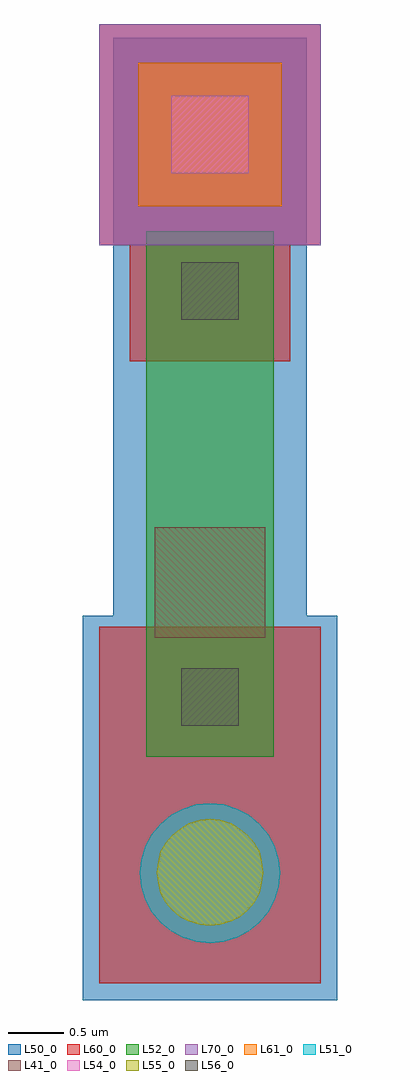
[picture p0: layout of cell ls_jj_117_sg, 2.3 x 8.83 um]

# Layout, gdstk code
import gdstk
lib = gdstk.Library(unit=1e-6, precision=1e-09)
def R(c, l, rs):  # rectangles x0, y0, x1, y1
    for r in rs: c.add(gdstk.rectangle(r[:2], r[2:], *l))
def P(c, l, *ps):  # polygons
    for p in ps: c.add(gdstk.Polygon(p, *l))
L41_0 = (41, 0)
L50_0 = (50, 0)
L51_0 = (51, 0)
L52_0 = (52, 0)
L54_0 = (54, 0)
L55_0 = (55, 0)
L56_0 = (56, 0)
L60_0 = (60, 0)
L61_0 = (61, 0)
L70_0 = (70, 0)

ls_conn_m5m6m7 = lib.new_cell('ls_conn_M5M6M7')
R(ls_conn_m5m6m7, L50_0, [(-0.5,-0.5,1.2,1.2)])
R(ls_conn_m5m6m7, L54_0, [(0,0,0.7,0.7)])
R(ls_conn_m5m6m7, L60_0, [(-0.65,-0.65,1.35,1.35)])
R(ls_conn_m5m6m7, L61_0, [(-0.3,-0.3,1,1)])
R(ls_conn_m5m6m7, L70_0, [(-0.65,-0.65,1.35,1.35)])

ls_jj_117_sg = lib.new_cell('ls_jj_117_sg')
R(ls_jj_117_sg, L41_0, [(-0.5,2.125,0.5,3.125)])
R(ls_jj_117_sg, L50_0, [(-1.15,-1.15,1.15,2.325), (-0.875,2.325,0.875,7.55)])
P(ls_jj_117_sg, L51_0, [(0,-0.635),(-0.125,-0.625),(-0.24,-0.585),(-0.35,-0.53),(-0.445,-0.45),(-0.525,-0.355),(-0.585,-0.245),(-0.62,-0.125),(-0.635,0),(-0.62,0.12),(-0.585,0.24),(-0.525,0.35),(-0.445,0.445),(-0.35,0.525),(-0.24,0.58),(-0.125,0.62),(0,0.63),(0.125,0.62),(0.24,0.58),(0.35,0.525),(0.445,0.445),(0.525,0.35),(0.585,0.24),(0.62,0.12),(0.635,0),(0.62,-0.125),(0.585,-0.245),(0.525,-0.355),(0.445,-0.45),(0.35,-0.53),(0.24,-0.585),(0.125,-0.625)])
R(ls_jj_117_sg, L52_0, [(-0.575,1.05,0.575,5.8)])
R(ls_jj_117_sg, L54_0, [(-0.35,6.325,0.35,7.025)])
P(ls_jj_117_sg, L55_0, [(0,-0.48),(-0.09,-0.47),(-0.19,-0.44),(-0.27,-0.4),(-0.34,-0.34),(-0.4,-0.27),(-0.45,-0.18),(-0.47,-0.09),(-0.48,0),(-0.47,0.1),(-0.45,0.19),(-0.4,0.27),(-0.34,0.34),(-0.27,0.4),(-0.19,0.45),(-0.09,0.48),(0,0.49),(0.09,0.48),(0.19,0.45),(0.27,0.4),(0.34,0.34),(0.4,0.27),(0.45,0.19),(0.47,0.1),(0.48,0),(0.47,-0.09),(0.45,-0.18),(0.4,-0.27),(0.34,-0.34),(0.27,-0.4),(0.19,-0.44),(0.09,-0.47)])
R(ls_jj_117_sg, L56_0, [(-0.26,1.33,0.26,1.85), (-0.26,5,0.26,5.52)])
R(ls_jj_117_sg, L60_0, [(-1,-1,1,2.225), (-0.725,4.625,0.725,7.4)])
ls_jj_117_sg.add(gdstk.Reference(ls_conn_m5m6m7, (-0.35,6.325)))

lib.write_gds('ls_jj_117_sg.gds')
